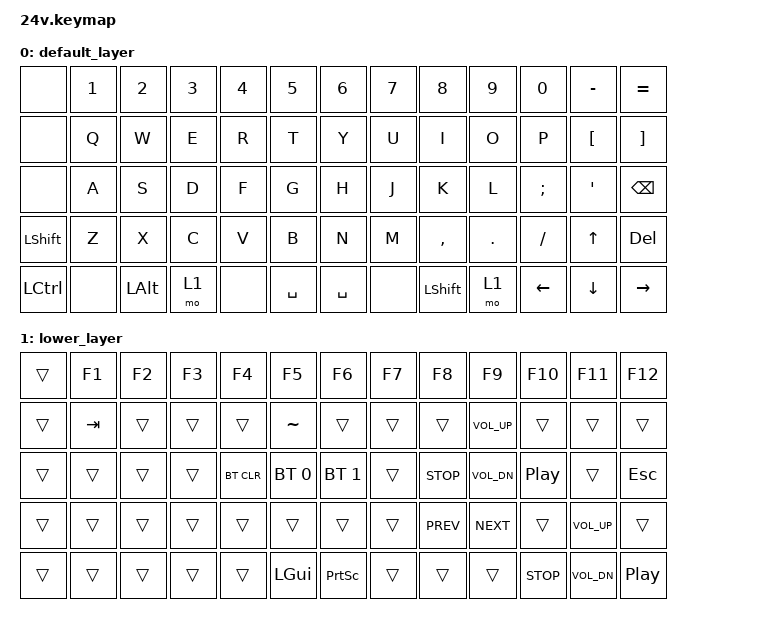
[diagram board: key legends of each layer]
/*
 * Copyright (c) 2021 The ZMK Contributors
 *
 * SPDX-License-Identifier: MIT
 */
 
#include <behaviors.dtsi>
#include <dt-bindings/zmk/keys.h>
#include <dt-bindings/zmk/bt.h>
#include <dt-bindings/zmk/outputs.h>


/ {
    keymap {
        compatible = "zmk,keymap";

        default_layer {
            // --------------------------------------------------------------------------------------------------
            // |       |  1   |  2   |  3   |  4   |  5   |   6   |  7    |  8   |  9   |   0   |  -    |  =    |
            // |       |  Q   |  W   |  E   |  R   |  T   |   Y   |  U    |  I   |  O   |   P   |  [    |  ]    |
            // |       |  A   |  S   |  D   |  F   |  G   |   H   |  J    |  K   |  L   |   ;   |  '    | BSPC  |
            // | SHIFT |  Z   |  X   |  C   |  V   |  B   |   N   |  M    |  ,   |  .   |   /   | UARW  |  DEL  |
            // | LCTL  |      | LALT |LOWR  |      |SPACE |SPACE  |       | SHIFT| LOWR | LARW  | DARW  |  RARW |


            bindings = <
                &none      &kp N1       &kp N2      &kp N3   &kp N4     &kp N5      &kp N6      &kp N7   &kp N8      &kp N9      &kp N0      &kp MINUS   &kp EQUAL
                &none      &kp Q        &kp W       &kp E    &kp R      &kp T       &kp Y       &kp U    &kp I       &kp O       &kp P       &kp LBKT    &kp RBKT
                &none      &kp A        &kp S       &kp D    &kp F      &kp G       &kp H       &kp J    &kp K       &kp L       &kp SEMI    &kp SQT     &kp BSPC
                &kp LSHFT  &kp Z        &kp X       &kp C    &kp V      &kp B       &kp N       &kp M    &kp COMMA   &kp DOT     &kp FSLH    &kp UP      &kp DEL
                &kp LCTRL  &none        &kp LALT    &mo 1    &none      &kp SPACE   &kp SPACE   &none    &kp LSHFT   &mo 1       &kp LEFT    &kp DOWN    &kp RIGHT 
            >;
        };
lower_layer {
            // -------------------------------------------------------------------------------------------
            // |       |  F1  |  F2  |  F3  |  F4  |  F5    |   F6    |  F7   |  F8  |  F9  |  F10  |  F11  |  F12  |
            // |       |  TAB |      |      |      |  ~     |         |       |      | Vol+ |       |       |       |
            // |       |      |      |      |BT_CLR|BT_SEL 0|BT_SEL 1 |       | STOP | Vol- |  PLAY |       | ESC   |
            // |       |      |      |      |      |        |         |       | PREV | NEXT |       |  Vol+ |       |
            // |       |      |      |      |      | LGUI   | PRTSN   |       |      |      | STOP  |  Vol- | PLAY  |
            bindings = <
                &trans      &kp F1   &kp F2   &kp F3   &kp F4      &kp F5        &kp F6         &kp F7      &kp F8        &kp F9         &kp F10               &kp F11       &kp F12
                &trans      &kp TAB  &trans   &trans   &trans      &kp TILDE     &trans         &trans      &trans        &kp C_VOL_UP   &trans                &trans        &trans
                &trans      &trans   &trans   &trans   &bt BT_CLR  &bt BT_SEL 0  &bt BT_SEL 1   &trans      &kp C_STOP    &kp C_VOL_DN   &kp C_PLAY_PAUSE      &trans        &kp ESC
                &trans      &trans   &trans   &trans   &trans      &trans        &trans         &trans      &kp C_PREV    &kp C_NEXT     &trans                &kp C_VOL_UP  &trans
                &trans      &trans   &trans   &trans   &trans      &kp LGUI      &kp PSCRN      &trans      &trans        &trans         &kp C_STOP            &kp C_VOL_DN  &kp C_PLAY_PAUSE 
            >;
        };
    };
};
